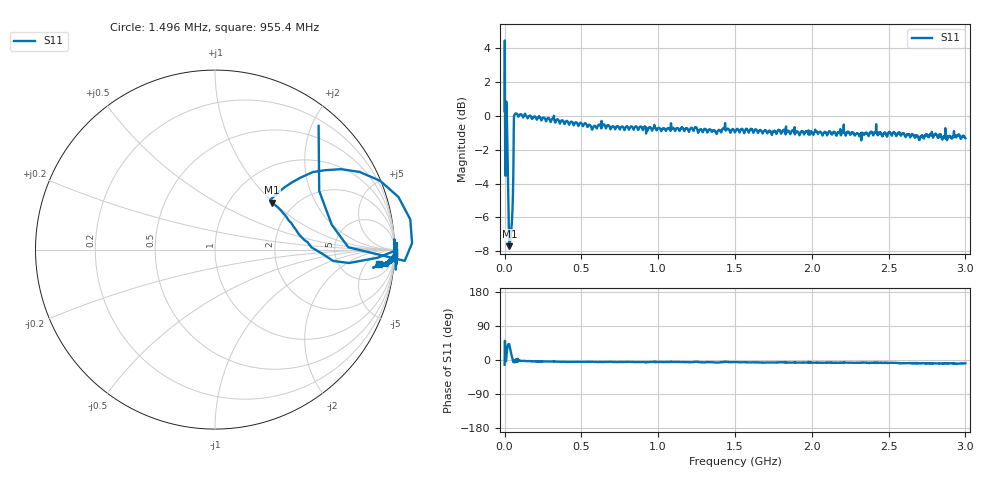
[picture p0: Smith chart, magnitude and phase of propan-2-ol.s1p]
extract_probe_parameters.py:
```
import numpy as np
import matplotlib.pyplot as plt
from pathlib import Path
import sys

# Add parent directory to path for imports
sys.path.insert(0, str(Path(__file__).parent))
from ml_classifier.data_loader import parse_s1p_file

def load_reference_data(csv_path):
    """Load reference permittivity data using numpy"""
    # Check if file exists
    if not Path(csv_path).exists():
        print(f"Error: {csv_path} not found")
        return None, None, None

    try:
        # Try reading with header
        data = np.genfromtxt(csv_path, delimiter=',', skip_header=1)
        
        # Check shape to determine format
        if data.shape[1] >= 4: # Assuming NPL format or similar
            # NPL: Freq_GHz, eps_prime, eps_double_prime (cols 0, 1, 3 usually)
            # But let's look at the file content structure from previous context
            # isopropanol_permittivity_15C_NPL.csv: Freq_GHz, eps_prime_bestfit, ..., eps_double_prime_bestfit
            freq = data[:, 0] * 1e9
            ep = data[:, 1]
            # Check if col 3 is double prime (standard in this workspace)
            edp = data[:, 3] 
            return freq, ep, edp
    except Exception as e:
        print(f"Error reading {csv_path}: {e}")
        return None, None, None

def calculate_admittance(s1p_path, freq_target):
    """Load S1P and convert to Admittance Y at target frequencies"""
    if not Path(s1p_path).exists():
        print(f"Error: {s1p_path} not found")
        return None

    freq_meas, s11_db, phase_deg = parse_s1p_file(s1p_path)
    
    # Interpolate S11 to target frequencies
    s11_mag = 10**(s11_db/20)
    s11_complex = s11_mag * np.exp(1j * np.deg2rad(phase_deg))
    
    # Interpolate real and imag parts separately
    s11_real_interp = np.interp(freq_target, freq_meas, np.real(s11_complex))
    s11_imag_interp = np.interp(freq_target, freq_meas, np.imag(s11_complex))
    gamma = s11_real_interp + 1j * s11_imag_interp
    
    # Convert Gamma to Admittance (normalized to Y0)
    # Y = (1 - Gamma) / (1 + Gamma) * Y0
    # We'll work with normalized Y first, Y0 scales C0/Cf later
    # Y_norm = (1 - gamma) / (1 + gamma)
    
    # Handle singularity at gamma=-1
    denom = 1 + gamma
    denom[np.abs(denom) < 1e-10] = 1e-10
    
    Y_norm = (1 - gamma) / denom
    
    return Y_norm

def solve_c_single_std(freq, Y_meas, eps_ref):
    """
    Solve C0, Cf using a single standard with loss.
    Y = j*w*Cf + j*w*C0*(e' - j*e'')
    Y = w*C0*e'' + j*w*(Cf + C0*e')
    
    Real(Y) = w*C0*e''  -> C0 = Real(Y) / (w*e'')
    Imag(Y) = w*Cf + w*C0*e' -> Cf = Imag(Y)/w - C0*e'
    """
    omega = 2 * np.pi * freq
    Y0 = 1/50.0 # 50 ohm system
    Y_abs = Y_meas * Y0
    
    G = np.real(Y_abs)
    B = np.imag(Y_abs)
    
    eps_p = np.real(eps_ref)
    eps_dp = -np.imag(eps_ref) # eps* = e' - j e''
    
    # Avoid division by zero
    mask = eps_dp > 0.1
    
    C0 = np.zeros_like(freq)
    Cf = np.zeros_like(freq)
    
    # Only calculate where we have enough loss to distinguish C0
    C0[mask] = G[mask] / (omega[mask] * eps_dp[mask])
    Cf[mask] = (B[mask] / omega[mask]) - (C0[mask] * eps_p[mask])
    
    return C0, Cf

def main():
    print("="*80)
    print("PROBE PARAMETER EXTRACTION (C0, Cf)")
    print("="*80)
    
    # 1. Load Reference Data (Interpolate to common grid)
    # Use range 500 MHz to 3 GHz where probe is usually well behaved
    freq_grid = np.arange(0.5e9, 3.01e9, 0.05e9) 
    
    # Water Reference
    f_w, ep_w, edp_w = load_reference_data("water_permittivity_literature.csv")
    if f_w is None: return
    eps_water_ref = np.interp(freq_grid, f_w, ep_w) - 1j * np.interp(freq_grid, f_w, edp_w)

    # Isopropanol Reference
    f_i, ep_i, edp_i = load_reference_data("isopropanol_permittivity_15C_NPL.csv")
    if f_i is None: return
    eps_iso_ref = np.interp(freq_grid, f_i, ep_i) - 1j * np.interp(freq_grid, f_i, edp_i)

    # 2. Load Measurements
    Y_water = calculate_admittance("Database/Water/DI-water.s1p", freq_grid)
    Y_iso = calculate_admittance("Database/Isopropanol/propan-2-ol.s1p", freq_grid)
    
    if Y_water is None or Y_iso is None: return

    # 3. Calculate C0, Cf
    
    # Method A: Water Only
    C0_w, Cf_w = solve_c_single_std(freq_grid, Y_water, eps_water_ref)
    
    # Method B: Isopropanol Only
    C0_i, Cf_i = solve_c_single_std(freq_grid, Y_iso, eps_iso_ref)
    
    # Method C: Dual Reference (Water + Iso)
    # Y_w - Y_i = j*w*C0 * (eps_w - eps_i)
    # C0 = (Y_w - Y_i) / (j*w * (eps_w - eps_i))
    omega = 2 * np.pi * freq_grid
    Y0 = 1/50.0
    
    delta_Y = (Y_water - Y_iso) * Y0
    delta_eps = eps_water_ref - eps_iso_ref
    
    C0_dual = delta_Y / (1j * omega * delta_eps)
    # Take real part (physically C0 is real)
    C0_dual_real = np.real(C0_dual)
    
    # Calculate Cf using Water and the derived C0
    # Y_w = j*w*Cf + j*w*C0*eps_w
    # Cf = Y_w/(j*w) - C0*eps_w
    Cf_dual = (Y_water * Y0) / (1j * omega) - C0_dual_real * eps_water_ref
    Cf_dual_real = np.real(Cf_dual)

    # 4. Print Results at key frequencies
    print(f"\n{'Freq (GHz)':<10} | {'C0 (fF) [Water]':<15} | {'C0 (fF) [Iso]':<15} | {'C0 (fF) [Dual]':<15}")
    print("-" * 65)
    
    # Select a few points to print
    indices = np.linspace(0, len(freq_grid)-1, 10, dtype=int)
    
    for idx in indices:
        f = freq_grid[idx]/1e9
        print(f"{f:<10.2f} | {C0_w[idx]*1e15:<15.2f} | {C0_i[idx]*1e15:<15.2f} | {C0_dual_real[idx]*1e15:<15.2f}")

    print(f"\n{'Freq (GHz)':<10} | {'Cf (fF) [Water]':<15} | {'Cf (fF) [Iso]':<15} | {'Cf (fF) [Dual]':<15}")
    print("-" * 65)
    for idx in indices:
        f = freq_grid[idx]/1e9
        print(f"{f:<10.2f} | {Cf_w[idx]*1e15:<15.2f} | {Cf_i[idx]*1e15:<15.2f} | {Cf_dual_real[idx]*1e15:<15.2f}")

    # 5. Plot
    plt.figure(figsize=(12, 8))
    
    plt.subplot(2, 1, 1)
    plt.plot(freq_grid/1e9, C0_w*1e15, label='Water Only')
    plt.plot(freq_grid/1e9, C0_i*1e15, label='Iso Only')
    plt.plot(freq_grid/1e9, C0_dual_real*1e15, 'k--', linewidth=2, label='Dual Ref')
    plt.title('Probe Aperture Capacitance C0')
    plt.ylabel('Capacitance (fF)')
    plt.legend()
    plt.grid(True, alpha=0.3)
    
    plt.subplot(2, 1, 2)
    plt.plot(freq_grid/1e9, Cf_w*1e15, label='Water Only')
    plt.plot(freq_grid/1e9, Cf_i*1e15, label='Iso Only')
    plt.plot(freq_grid/1e9, Cf_dual_real*1e15, 'k--', linewidth=2, label='Dual Ref')
    plt.title('Probe Fringing Capacitance Cf')
    plt.xlabel('Frequency (GHz)')
    plt.ylabel('Capacitance (fF)')
    plt.legend()
    plt.grid(True, alpha=0.3)
    
    output_path = Path('demo_results/probe_calibration_C_values.png')
    output_path.parent.mkdir(exist_ok=True)
    plt.savefig(output_path)
    print(f"\nPlot saved to {output_path}")
    # plt.show() # Commented out for non-interactive environments

if __name__ == "__main__":
    main()
```
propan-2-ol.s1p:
# HZ S RI R 50
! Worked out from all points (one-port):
!   2020 points, 10 kHz to 3 GHz, reference 50 ohm
!   lowest |S11| = -7.7 dB at 31.21 MHz (marker M1), VSWR 2.40, Z = 77.9 + j49.1 ohm
!   |S11| at or under -10 dB: nowhere
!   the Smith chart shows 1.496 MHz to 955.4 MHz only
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10000  1.007 -0.2228
5953516  0.6506 0.1382
1.635467e7  0.806 0.4327
1.932643e7  0.6108 0.4421
2.378406e7  0.4275 0.3737
3.121346e7  0.3186 0.2618
3.715698e7  0.3822 0.2005
4.310049e7  0.4379 0.1281
6.39028e7  1.004 -0.0257
7.578983e7  1.013 0.0365
3.68508e8  0.9625 -0.0802
1.000007e9  0.9154 -0.0896
2.000003e9  0.8885 -0.1093
3e9  0.849 -0.1281
